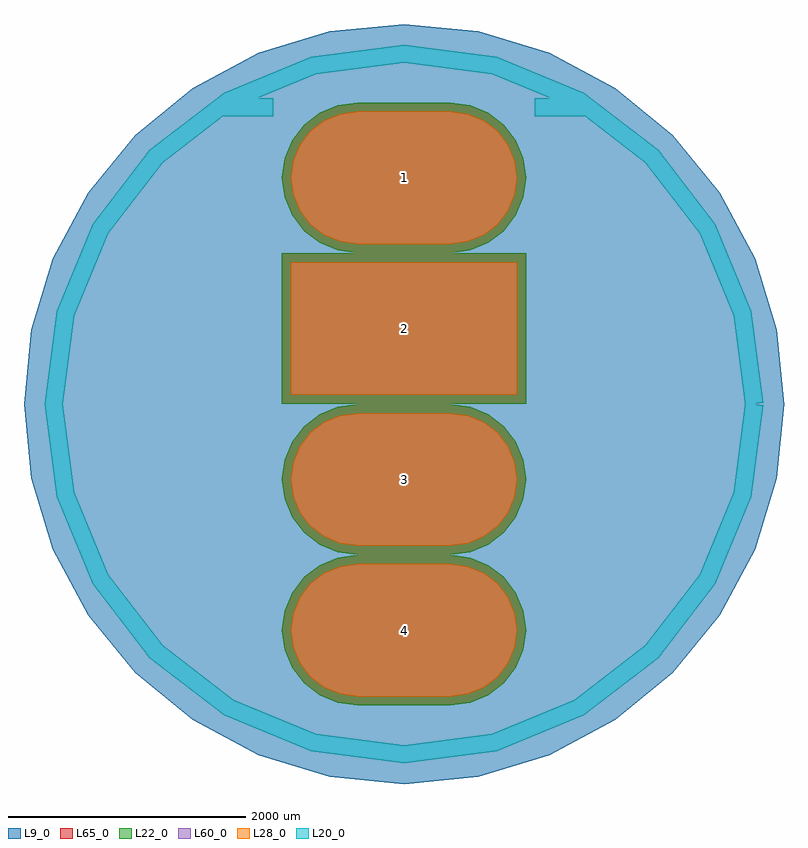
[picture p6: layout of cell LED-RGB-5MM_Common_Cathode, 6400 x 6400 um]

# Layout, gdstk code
import gdstk
lib = gdstk.Library(unit=1e-6, precision=1e-09)
def R(c, l, rs):  # rectangles x0, y0, x1, y1
    for r in rs: c.add(gdstk.rectangle(r[:2], r[2:], *l))
def P(c, l, *ps):  # polygons
    for p in ps: c.add(gdstk.Polygon(p, *l))
L9_0 = (9, 0)
L20_0 = (20, 0)
L22_0 = (22, 0)
L28_0 = (28, 0)
L60_0 = (60, 0)
L65_0 = (65, 0)

led_rgb_5mm_common_catho = lib.new_cell('LED-RGB-5MM_Common_Cathode')
P(led_rgb_5mm_common_catho, L9_0, [(3200,-1905),(3138.513,-1280.711),(2956.415,-680.413),(2660.703,-127.175),(2262.742,357.742),(1777.825,755.703),(1224.587,1051.415),(624.289,1233.513),(0,1295),(-624.289,1233.513),(-1224.587,1051.415),(-1777.825,755.703),(-2262.742,357.742),(-2660.703,-127.175),(-2956.415,-680.413),(-3138.513,-1280.711),(-3200,-1905),(-3138.513,-2529.289),(-2956.415,-3129.587),(-2660.703,-3682.825),(-2262.742,-4167.742),(-1777.825,-4565.703),(-1224.587,-4861.415),(-624.289,-5043.513),(0,-5105),(624.289,-5043.513),(1224.587,-4861.415),(1777.825,-4565.703),(2262.742,-4167.742),(2660.703,-3682.825),(2956.415,-3129.587),(3138.513,-2529.289)])
R(led_rgb_5mm_common_catho, L22_0, [(-1027.5,-1903.8,1027.5,-636.2)])
P(led_rgb_5mm_common_catho, L22_0, [(-393.7,-4443.8),(393.7,-4443.8),(557.74,-4422.204),(710.6,-4358.887),(841.864,-4258.164),(942.587,-4126.9),(1005.904,-3974.04),(1027.5,-3810),(1005.904,-3645.96),(942.587,-3493.1),(841.864,-3361.836),(710.6,-3261.113),(557.74,-3197.796),(393.7,-3176.2),(-393.7,-3176.2),(-557.74,-3197.796),(-710.6,-3261.113),(-841.864,-3361.836),(-942.587,-3493.1),(-1005.904,-3645.96),(-1027.5,-3810),(-1005.904,-3974.04),(-942.587,-4126.9),(-841.864,-4258.164),(-710.6,-4358.887),(-557.74,-4422.204)],
  [(-393.7,-3173.8),(393.7,-3173.8),(557.74,-3152.204),(710.6,-3088.887),(841.864,-2988.164),(942.587,-2856.9),(1005.904,-2704.04),(1027.5,-2540),(1005.904,-2375.96),(942.587,-2223.1),(841.864,-2091.836),(710.6,-1991.113),(557.74,-1927.796),(393.7,-1906.2),(-393.7,-1906.2),(-557.74,-1927.796),(-710.6,-1991.113),(-841.864,-2091.836),(-942.587,-2223.1),(-1005.904,-2375.96),(-1027.5,-2540),(-1005.904,-2704.04),(-942.587,-2856.9),(-841.864,-2988.164),(-710.6,-3088.887),(-557.74,-3152.204)],
  [(-393.7,-633.8),(393.7,-633.8),(557.74,-612.204),(710.6,-548.887),(841.864,-448.164),(942.587,-316.9),(1005.904,-164.04),(1027.5,0),(1005.904,164.04),(942.587,316.9),(841.864,448.164),(710.6,548.887),(557.74,612.204),(393.7,633.8),(-393.7,633.8),(-557.74,612.204),(-710.6,548.887),(-841.864,448.164),(-942.587,316.9),(-1005.904,164.04),(-1027.5,0),(-1005.904,-164.04),(-942.587,-316.9),(-841.864,-448.164),(-710.6,-548.887),(-557.74,-612.204)])
R(led_rgb_5mm_common_catho, L28_0, [(-952.5,-1828.8,952.5,-711.2)])
P(led_rgb_5mm_common_catho, L28_0, [(-393.7,-4368.8),(393.7,-4368.8),(538.328,-4349.759),(673.1,-4293.935),(788.831,-4205.131),(877.635,-4089.4),(933.459,-3954.628),(952.5,-3810),(933.459,-3665.372),(877.635,-3530.6),(788.831,-3414.869),(673.1,-3326.065),(538.328,-3270.241),(393.7,-3251.2),(-393.7,-3251.2),(-538.328,-3270.241),(-673.1,-3326.065),(-788.831,-3414.869),(-877.635,-3530.6),(-933.459,-3665.372),(-952.5,-3810),(-933.459,-3954.628),(-877.635,-4089.4),(-788.831,-4205.131),(-673.1,-4293.935),(-538.328,-4349.759)],
  [(-393.7,-3098.8),(393.7,-3098.8),(538.328,-3079.759),(673.1,-3023.935),(788.831,-2935.131),(877.635,-2819.4),(933.459,-2684.628),(952.5,-2540),(933.459,-2395.372),(877.635,-2260.6),(788.831,-2144.869),(673.1,-2056.065),(538.328,-2000.241),(393.7,-1981.2),(-393.7,-1981.2),(-538.328,-2000.241),(-673.1,-2056.065),(-788.831,-2144.869),(-877.635,-2260.6),(-933.459,-2395.372),(-952.5,-2540),(-933.459,-2684.628),(-877.635,-2819.4),(-788.831,-2935.131),(-673.1,-3023.935),(-538.328,-3079.759)],
  [(-393.7,-558.8),(393.7,-558.8),(538.328,-539.759),(673.1,-483.935),(788.831,-395.131),(877.635,-279.4),(933.459,-144.628),(952.5,0),(933.459,144.628),(877.635,279.4),(788.831,395.131),(673.1,483.935),(538.328,539.759),(393.7,558.8),(-393.7,558.8),(-538.328,539.759),(-673.1,483.935),(-788.831,395.131),(-877.635,279.4),(-933.459,144.628),(-952.5,0),(-933.459,-144.628),(-877.635,-279.4),(-788.831,-395.131),(-673.1,-483.935),(-538.328,-539.759)])
R(led_rgb_5mm_common_catho, L60_0, [(-952.5,-1828.8,952.5,-711.2)])
P(led_rgb_5mm_common_catho, L60_0, [(-393.7,-4368.8),(393.7,-4368.8),(538.328,-4349.759),(673.1,-4293.935),(788.831,-4205.131),(877.635,-4089.4),(933.459,-3954.628),(952.5,-3810),(933.459,-3665.372),(877.635,-3530.6),(788.831,-3414.869),(673.1,-3326.065),(538.328,-3270.241),(393.7,-3251.2),(-393.7,-3251.2),(-538.328,-3270.241),(-673.1,-3326.065),(-788.831,-3414.869),(-877.635,-3530.6),(-933.459,-3665.372),(-952.5,-3810),(-933.459,-3954.628),(-877.635,-4089.4),(-788.831,-4205.131),(-673.1,-4293.935),(-538.328,-4349.759)],
  [(-393.7,-3098.8),(393.7,-3098.8),(538.328,-3079.759),(673.1,-3023.935),(788.831,-2935.131),(877.635,-2819.4),(933.459,-2684.628),(952.5,-2540),(933.459,-2395.372),(877.635,-2260.6),(788.831,-2144.869),(673.1,-2056.065),(538.328,-2000.241),(393.7,-1981.2),(-393.7,-1981.2),(-538.328,-2000.241),(-673.1,-2056.065),(-788.831,-2144.869),(-877.635,-2260.6),(-933.459,-2395.372),(-952.5,-2540),(-933.459,-2684.628),(-877.635,-2819.4),(-788.831,-2935.131),(-673.1,-3023.935),(-538.328,-3079.759)],
  [(-393.7,-558.8),(393.7,-558.8),(538.328,-539.759),(673.1,-483.935),(788.831,-395.131),(877.635,-279.4),(933.459,-144.628),(952.5,0),(933.459,144.628),(877.635,279.4),(788.831,395.131),(673.1,483.935),(538.328,539.759),(393.7,558.8),(-393.7,558.8),(-538.328,539.759),(-673.1,483.935),(-788.831,395.131),(-877.635,279.4),(-933.459,144.628),(-952.5,0),(-933.459,-144.628),(-877.635,-279.4),(-788.831,-395.131),(-673.1,-483.935),(-538.328,-539.759)])
R(led_rgb_5mm_common_catho, L65_0, [(-1027.5,-1903.8,1027.5,-636.2)])
P(led_rgb_5mm_common_catho, L65_0, [(-393.7,-4443.8),(393.7,-4443.8),(557.74,-4422.204),(710.6,-4358.887),(841.864,-4258.164),(942.587,-4126.9),(1005.904,-3974.04),(1027.5,-3810),(1005.904,-3645.96),(942.587,-3493.1),(841.864,-3361.836),(710.6,-3261.113),(557.74,-3197.796),(393.7,-3176.2),(-393.7,-3176.2),(-557.74,-3197.796),(-710.6,-3261.113),(-841.864,-3361.836),(-942.587,-3493.1),(-1005.904,-3645.96),(-1027.5,-3810),(-1005.904,-3974.04),(-942.587,-4126.9),(-841.864,-4258.164),(-710.6,-4358.887),(-557.74,-4422.204)],
  [(-393.7,-3173.8),(393.7,-3173.8),(557.74,-3152.204),(710.6,-3088.887),(841.864,-2988.164),(942.587,-2856.9),(1005.904,-2704.04),(1027.5,-2540),(1005.904,-2375.96),(942.587,-2223.1),(841.864,-2091.836),(710.6,-1991.113),(557.74,-1927.796),(393.7,-1906.2),(-393.7,-1906.2),(-557.74,-1927.796),(-710.6,-1991.113),(-841.864,-2091.836),(-942.587,-2223.1),(-1005.904,-2375.96),(-1027.5,-2540),(-1005.904,-2704.04),(-942.587,-2856.9),(-841.864,-2988.164),(-710.6,-3088.887),(-557.74,-3152.204)],
  [(-393.7,-633.8),(393.7,-633.8),(557.74,-612.204),(710.6,-548.887),(841.864,-448.164),(942.587,-316.9),(1005.904,-164.04),(1027.5,0),(1005.904,164.04),(942.587,316.9),(841.864,448.164),(710.6,548.887),(557.74,612.204),(393.7,633.8),(-393.7,633.8),(-557.74,612.204),(-710.6,548.887),(-841.864,448.164),(-942.587,316.9),(-1005.904,164.04),(-1027.5,0),(-1005.904,-164.04),(-942.587,-316.9),(-841.864,-448.164),(-710.6,-548.887),(-557.74,-612.204)])
led_rgb_5mm_common_catho.add(gdstk.FlexPath([(1100,595),(1550,595)], 149.998, ends="flush", simple_path=True, layer=20, datatype=0))  # L20_0
led_rgb_5mm_common_catho.add(gdstk.FlexPath([(2950,-1905),(2849.481,-1141.484),(2554.775,-430),(2085.965,180.965),(1475,649.775),(763.516,944.481),(0,1045),(-763.516,944.481),(-1475,649.775),(-2085.965,180.965),(-2554.775,-430),(-2849.481,-1141.484),(-2950,-1905),(-2849.481,-2668.516),(-2554.775,-3380),(-2085.965,-3990.965),(-1475,-4459.775),(-763.516,-4754.481),(0,-4855),(763.516,-4754.481),(1475,-4459.775),(2085.965,-3990.965),(2554.775,-3380),(2849.481,-2668.516),(2950,-1905)], 149.998, ends="flush", simple_path=True, layer=20, datatype=0))  # L20_0
led_rgb_5mm_common_catho.add(gdstk.FlexPath([(-1100,595),(-1550,595)], 149.998, ends="flush", simple_path=True, layer=20, datatype=0))  # L20_0
led_rgb_5mm_common_catho.add(gdstk.Label('4', (0,-3810), layer=28, texttype=0))
led_rgb_5mm_common_catho.add(gdstk.Label('3', (0,-2540), layer=28, texttype=0))
led_rgb_5mm_common_catho.add(gdstk.Label('2', (0,-1270), layer=28, texttype=0))
led_rgb_5mm_common_catho.add(gdstk.Label('1', (0,0), layer=28, texttype=0))
led_rgb_5mm_common_catho.add(gdstk.Label('type', (0,-6250), layer=9, texttype=0))
led_rgb_5mm_common_catho.add(gdstk.Label('devicename', (0,2250), layer=9, texttype=0))

lib.write_gds('LED-RGB-5MM_Common_Cathode.gds')
